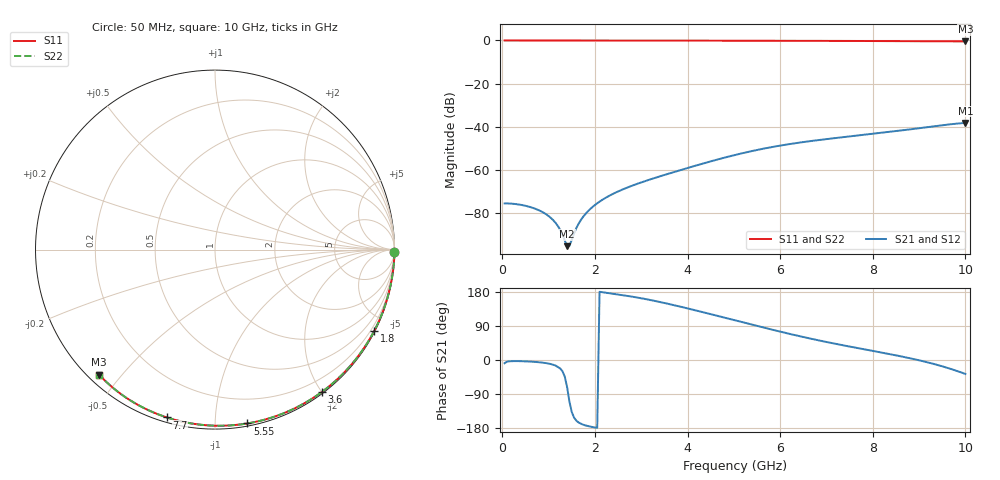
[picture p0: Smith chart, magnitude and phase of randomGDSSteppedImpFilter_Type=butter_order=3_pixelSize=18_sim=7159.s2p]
! freq	dB(S11)	phase(S11)	dB(S12)	phase(S12)
!  dB(S21)	phase(S21)	dB(S22)	phase(S22)
!S-par simulation data
#  GHz  S  DB  R 50
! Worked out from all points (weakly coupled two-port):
!   200 points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, 50 MHz to 10 GHz, reference 50 ohm
!   highest |S21| = -38.15 dB at 10 GHz (marker M1); lowest = -95.2 dB at 1.4 GHz (marker M2)
!   lowest |S11| = -0.4 dB at 10 GHz (marker M3), VSWR 38.79, Z = 1.54 - j21.8 ohm
!   |S11| at or under -10 dB: nowhere
!   |S22| runs from -0.4 to 0.0 dB; largest |S21 - S12| = 0
!   S11 on the Smith chart (normalised r, x): 50 MHz: open; 1.8 GHz: 0.04, -4.13; 3.6 GHz: 0.02, -2.00; 5.55 GHz: 0.02, -1.20; 7.7 GHz: 0.02, -0.75; 10 GHz: 0.03, -0.44
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0.05  -0.00 -0.8  -75.44 -8.4  -75.44 -8.4  -0.00 -0.8
0.25  -0.00 -3.9  -75.62 -2.9  -75.62 -2.9  -0.00 -3.9
0.5  -0.01 -7.7  -76.50 -3.5  -76.50 -3.5  -0.01 -7.7
0.7  -0.01 -10.7  -77.77 -4.9  -77.77 -4.9  -0.01 -10.7
0.9  -0.02 -13.7  -79.81 -7.4  -79.81 -7.4  -0.02 -13.7
0.95  -0.02 -14.5  -80.48 -8.3  -80.48 -8.3  -0.02 -14.5
1.4  -0.03 -21.3  -95.20 -72.0  -95.20 -72.0  -0.03 -21.3
1.75  -0.03 -26.5  -81.49 -170.8  -81.49 -170.8  -0.03 -26.5
1.8  -0.03 -27.2  -80.18 -172.8  -80.18 -172.8  -0.03 -27.2
2.05  -0.04 -30.9  -75.34 -179.1  -75.34 -179.1  -0.04 -30.9
2.4  -0.05 -36.0  -70.89 174.8  -70.89 174.8  -0.05 -36.0
2.85  -0.05 -42.6  -66.83 166.2  -66.83 166.2  -0.05 -42.6
3.4  -0.07 -50.4  -62.90 153.1  -62.90 153.1  -0.07 -50.4
3.6  -0.07 -53.2  -61.58 147.7  -61.58 147.7  -0.07 -53.2
4.35  -0.09 -63.5  -56.85 125.6  -56.85 125.6  -0.09 -63.5
5.05  -0.11 -72.9  -52.87 104.0  -52.87 104.0  -0.11 -72.9
5.55  -0.13 -79.4  -50.46 88.5  -50.46 88.5  -0.13 -79.4
6.1  -0.15 -86.5  -48.30 71.9  -48.30 71.9  -0.15 -86.5
6.7  -0.18 -94.0  -46.44 55.2  -46.44 55.2  -0.18 -94.0
7.7  -0.24 -106.0  -43.95 30.9  -43.95 30.9  -0.24 -106.0
8.35  -0.28 -113.7  -42.35 15.9  -42.35 15.9  -0.28 -113.7
10  -0.45 -132.8  -38.15 -36.8  -38.15 -36.8  -0.45 -132.8
